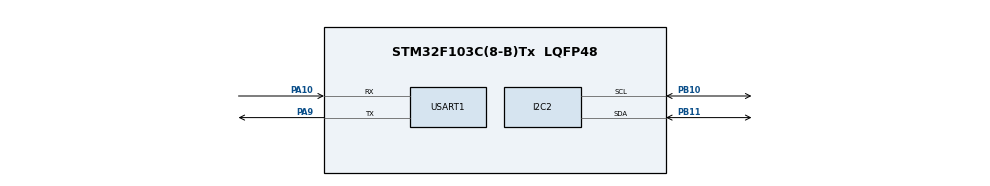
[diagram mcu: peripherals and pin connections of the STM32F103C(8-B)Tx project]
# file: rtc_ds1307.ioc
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Mcu.Family=STM32F1
Mcu.Name=STM32F103C(8-B)Tx
Mcu.Package=LQFP48
NVIC.PriorityGroup=NVIC_PRIORITYGROUP_4
PA10.Mode=Asynchronous
PA10.Signal=USART1_RX
PA13.Mode=Serial_Wire
PA13.Signal=SYS_JTMS-SWDIO
PA14.Mode=Serial_Wire
PA14.Signal=SYS_JTCK-SWCLK
PA9.Mode=Asynchronous
PA9.Signal=USART1_TX
PB10.Mode=I2C
PB10.Signal=I2C2_SCL
PB11.Mode=I2C
PB11.Signal=I2C2_SDA
PD0-OSC_IN.Mode=HSE-External-Oscillator
PD0-OSC_IN.Signal=RCC_OSC_IN
PD1-OSC_OUT.Mode=HSE-External-Oscillator
PD1-OSC_OUT.Signal=RCC_OSC_OUT
ProjectManager.HeapSize=0x200
ProjectManager.StackSize=0x400
ProjectManager.TargetToolchain=STM32CubeIDE
RCC.APB1Freq_Value=8000000
RCC.APB2Freq_Value=8000000
USART1.VirtualMode=VM_ASYNC
board=custom

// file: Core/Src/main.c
/* USER CODE BEGIN Header */
/**
  ******************************************************************************
  * @file           : main.c
  * @brief          : Main program body
  ******************************************************************************
  * @attention
  *
  * Copyright (c) 2025 STMicroelectronics.
  * All rights reserved.
  *
  * This software is licensed under terms that can be found in the LICENSE file
  * in the root directory of this software component.
  * If no LICENSE file comes with this software, it is provided AS-IS.
  *
  ******************************************************************************
  */
/* USER CODE END Header */
#include "main.h"

/* USER CODE BEGIN Includes */
#include "ds1307_for_stm32_hal.h"
#include <string.h>
#include <stdio.h>
/* USER CODE END Includes */

I2C_HandleTypeDef hi2c2;

UART_HandleTypeDef huart1;

void SystemClock_Config(void);
static void MX_GPIO_Init(void);
static void MX_I2C2_Init(void);
static void MX_USART1_UART_Init(void);

int main(void)
{

  /* MCU Configuration--------------------------------------------------------*/

  /* Reset of all peripherals, Initializes the Flash interface and the Systick. */
  HAL_Init();

  /* Configure the system clock */
  SystemClock_Config();

  /* Initialize all configured peripherals */
  MX_GPIO_Init();
  MX_I2C2_Init();
  MX_USART1_UART_Init();
  /* USER CODE BEGIN 2 */
  const char *DAYS_OF_WEEK[7] = { "Sunday", "Monday", "Tuesday", "Wednesday", "Thursday", "Friday", "Saturday" };
  DS1307_Init(&hi2c2);

  /* Set Date & Time */
  /*
  DS1307_SetTimeZone(+9, 00);
  DS1307_SetDate(8);
  DS1307_SetMonth(3);
  DS1307_SetYear(2025);
  DS1307_SetDayOfWeek(5);
  DS1307_SetHour(19);
  DS1307_SetMinute(35);
  DS1307_SetSecond(0);
  */
  /* USER CODE END 2 */

  /* Infinite loop */
  /* USER CODE BEGIN WHILE */
  while (1)
  {
	/* Get current date and time. */
	uint8_t date = DS1307_GetDate();
	uint8_t month = DS1307_GetMonth();
	uint16_t year = DS1307_GetYear();
	uint8_t dow = DS1307_GetDayOfWeek();
	uint8_t hour = DS1307_GetHour();
	uint8_t minute = DS1307_GetMinute();
	uint8_t second = DS1307_GetSecond();
	int8_t zone_hr = DS1307_GetTimeZoneHour();
	uint8_t zone_min = DS1307_GetTimeZoneMin();
	char buffer[100] = { 0 };
	sprintf(buffer, "ISO8601 FORMAT: %04d-%02d-%02dT%02d:%02d:%02d%+03d:%02d  %s\n",
			year, month, date, hour, minute, second, zone_hr, zone_min, DAYS_OF_WEEK[dow]);

	/* May show warning below. Ignore and proceed. */
	HAL_UART_Transmit(&huart1, buffer, strlen(buffer), 1000);
	HAL_Delay(250);

    /* USER CODE END WHILE */

  }
}

void SystemClock_Config(void)
{
  RCC_OscInitTypeDef RCC_OscInitStruct = {0};
  RCC_ClkInitTypeDef RCC_ClkInitStruct = {0};

  /** Initializes the RCC Oscillators according to the specified parameters
  * in the RCC_OscInitTypeDef structure.
  */
  RCC_OscInitStruct.OscillatorType = RCC_OSCILLATORTYPE_HSI;
  RCC_OscInitStruct.HSIState = RCC_HSI_ON;
  RCC_OscInitStruct.HSICalibrationValue = RCC_HSICALIBRATION_DEFAULT;
  RCC_OscInitStruct.PLL.PLLState = RCC_PLL_NONE;
  if (HAL_RCC_OscConfig(&RCC_OscInitStruct) != HAL_OK)
  {
    Error_Handler();
  }

  /** Initializes the CPU, AHB and APB buses clocks
  */
  RCC_ClkInitStruct.ClockType = RCC_CLOCKTYPE_HCLK|RCC_CLOCKTYPE_SYSCLK
                              |RCC_CLOCKTYPE_PCLK1|RCC_CLOCKTYPE_PCLK2;
  RCC_ClkInitStruct.SYSCLKSource = RCC_SYSCLKSOURCE_HSI;
  RCC_ClkInitStruct.AHBCLKDivider = RCC_SYSCLK_DIV1;
  RCC_ClkInitStruct.APB1CLKDivider = RCC_HCLK_DIV1;
  RCC_ClkInitStruct.APB2CLKDivider = RCC_HCLK_DIV1;

  if (HAL_RCC_ClockConfig(&RCC_ClkInitStruct, FLASH_LATENCY_0) != HAL_OK)
  {
    Error_Handler();
  }
}

static void MX_I2C2_Init(void)
{

  hi2c2.Instance = I2C2;
  hi2c2.Init.ClockSpeed = 100000;
  hi2c2.Init.DutyCycle = I2C_DUTYCYCLE_2;
  hi2c2.Init.OwnAddress1 = 0;
  hi2c2.Init.AddressingMode = I2C_ADDRESSINGMODE_7BIT;
  hi2c2.Init.DualAddressMode = I2C_DUALADDRESS_DISABLE;
  hi2c2.Init.OwnAddress2 = 0;
  hi2c2.Init.GeneralCallMode = I2C_GENERALCALL_DISABLE;
  hi2c2.Init.NoStretchMode = I2C_NOSTRETCH_DISABLE;
  if (HAL_I2C_Init(&hi2c2) != HAL_OK)
  {
    Error_Handler();
  }

}

static void MX_USART1_UART_Init(void)
{

  huart1.Instance = USART1;
  huart1.Init.BaudRate = 115200;
  huart1.Init.WordLength = UART_WORDLENGTH_8B;
  huart1.Init.StopBits = UART_STOPBITS_1;
  huart1.Init.Parity = UART_PARITY_NONE;
  huart1.Init.Mode = UART_MODE_TX_RX;
  huart1.Init.HwFlowCtl = UART_HWCONTROL_NONE;
  huart1.Init.OverSampling = UART_OVERSAMPLING_16;
  if (HAL_UART_Init(&huart1) != HAL_OK)
  {
    Error_Handler();
  }

}

static void MX_GPIO_Init(void)
{

  /* GPIO Ports Clock Enable */
  __HAL_RCC_GPIOD_CLK_ENABLE();
  __HAL_RCC_GPIOB_CLK_ENABLE();
  __HAL_RCC_GPIOA_CLK_ENABLE();

}

void Error_Handler(void)
{
  __disable_irq();
  while (1)
  {
  }
}
